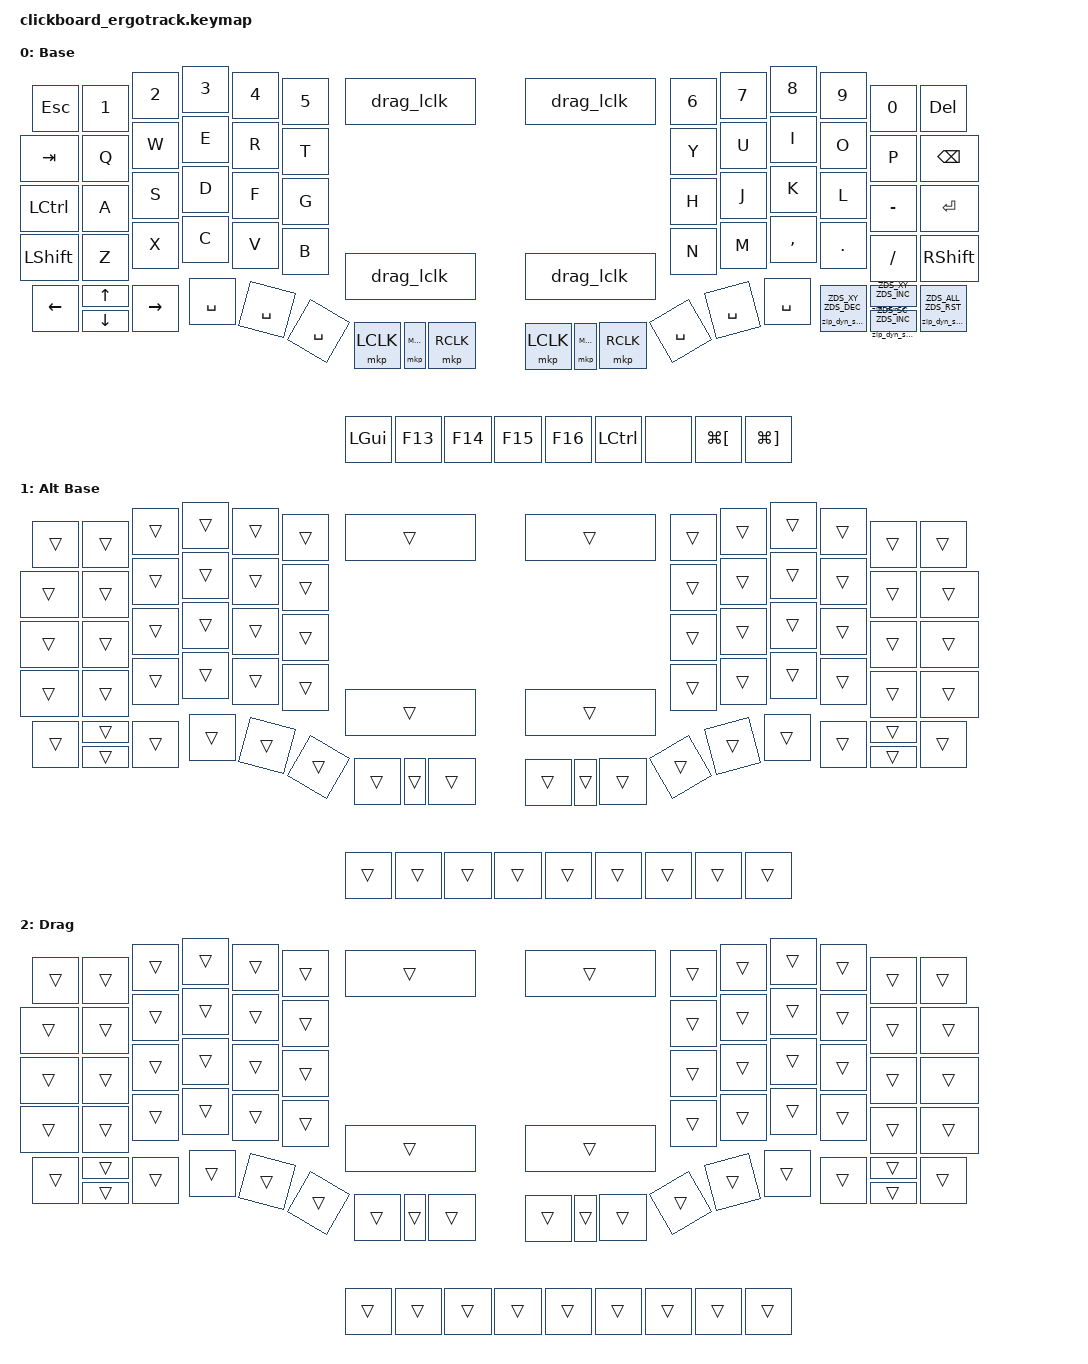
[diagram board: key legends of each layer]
#include <behaviors.dtsi>
#include <behaviors/runtime_macro.dtsi>
#include <behaviors/runtime_tap_dance.dtsi>
#include <dt-bindings/zmk/keys.h>
#include <dt-bindings/zmk/pointing.h>
#include <dt-bindings/zmk/zip_dynamic_scale.h>

/ {
    /* drag_lclk はボタンを入力イベントとして出す(&mkp と同じ作り)ので、
       それを HID に流すリスナーが要る。ZMK が &mkp に付けているものと同じ。 */
    drag_lclk_listener {
        compatible = "zmk,input-listener";
        device = <&drag_lclk>;
    };

    behaviors {
        /* 「指が乗っている間ホールド」(pos78)に置くための、キーとマウスボタンを
           同時に押し続けるビヘイビア。&tp_hold LSHIFT MB3 で Shift+中ボタン。
           どちらか片方だけなら 0 を入れる(&tp_hold LCTRL 0)。
           アプリでは第1引数がキー、第2引数がマウスボタンとして出る。 */
        tp_hold: tp_hold {
            compatible = "zmk,behavior-press-both";
            #binding-cells = <2>;
            display-name = "Key + Mouse Button";
            bindings = <&kp>, <&mkp>;
        };

        /* 実行中にポインタ/スクロール速度を変えるビヘイビア。
           display-name はアプリの割り当て一覧に出る名前(これが無いと内部名の
           zip_dyn_scale がそのまま並ぶ)。アプリ側はこの名前でマウス分類に
           入れて説明を付けるので、変えるときはアプリの behaviorMetadata.ts も
           合わせる。引数の選択肢(カーソル/スクロール/両方、速く/遅く/リセット)
           はドライバの behavior_zip_dynamic_scale.c がファームから渡す。 */
        zip_dyn_scale: zip_dyn_scale {
            compatible = "zmk,behavior-zip-dynamic-scale";
            #binding-cells = <2>;
            display-name = "Pointer Speed Adjust";
        };

        zip_dyn_scale_set: zip_dyn_scale_set {
            compatible = "zmk,behavior-zip-dynamic-scale-set";
            #binding-cells = <2>;
            display-name = "Pointer Speed Set";
        };

        /* トラックパッドの下のタクトスイッチ用の左クリック(ドライバの
           zmk,behavior-drag-click)。押すと左ボタン + レイヤー2(Drag)。
           離したとき、どちらかのパッドに指が乗っていればボタンとレイヤーを
           離さず、指が全部離れた時点で離す = スイッチから指を離しても
           パッドの指が乗っている限りドラッグが続く。指が乗っていなければ
           普通のクリック。ドラッグ中にもう一度押せばスイッチが引き継ぐ。
           Dragレイヤーでは dual_pad を通さない処理チェーンに切り替わるので、
           ドラッグ中に反対側のパッドへ指を置いてもジェスチャー融合が始まらず、
           そのままカーソルを動かせる = ドラッグの引き継ぎができる。
           親指などパッドに指を乗せたままシングルクリックしたいキーには
           これではなく &mkp LCLK を当てる(指が乗っていると離れなくなる)。
           指の有無は両半身の .conf の INPUT_IQS9151_TOUCH_STATE_ENABLE が
           出す生のタッチ状態イベント。ノード名 drag_lclk は保存済みの
           キーマップがこの名前で参照しているので変えない。 */
        drag_lclk: drag_lclk {
            compatible = "zmk,behavior-drag-click";
            #binding-cells = <0>;
            /* アプリのキー割り当て一覧に出る名前。これが無いと内部名の
               "drag_lclk" がそのまま並び、押すと何が起きるか分からない。 */
            display-name = "Left Click (Drag)";
            button = <0>;
            layer = <2>;
        };

        /* --- タップ/ホールドの判定時間プリセット ---
           押している時間がここで指定した ms を超えたら「ホールド」、
           それより短ければ「タップ」と判定される。
           数値ちがいのインスタンスを並べて定義しておくと、Keeb-On! Studio の
           キー割り当て候補にそのまま並び、キーごとに好みの速さを選べる。
           値そのものはコンパイル時固定だが、ファームウェアはタグを打てば
           GitHub Releases から配布されるので、合わなければ数値を変えて再配布する。

           flavor は ZMK 標準に合わせてある:
             mod-tap 系   = hold-preferred (ZMK の &mt と同じ)
             layer-tap 系 = tap-preferred  (ZMK の &lt と同じ)
           なので mt_mid / lt_mid は標準の &mt / &lt と完全に同じ挙動になる。 */

        mt_fast: mod_tap_fast {
            compatible = "zmk,behavior-hold-tap";
            #binding-cells = <2>;
            flavor = "hold-preferred";
            tapping-term-ms = <150>;
            bindings = <&kp>, <&kp>;
            display-name = "Mod-Tap 150ms";
        };

        mt_mid: mod_tap_mid {
            compatible = "zmk,behavior-hold-tap";
            #binding-cells = <2>;
            flavor = "hold-preferred";
            tapping-term-ms = <200>;
            bindings = <&kp>, <&kp>;
            display-name = "Mod-Tap 200ms";
        };

        mt_slow: mod_tap_slow {
            compatible = "zmk,behavior-hold-tap";
            #binding-cells = <2>;
            flavor = "hold-preferred";
            tapping-term-ms = <280>;
            bindings = <&kp>, <&kp>;
            display-name = "Mod-Tap 280ms";
        };

        lt_fast: layer_tap_fast {
            compatible = "zmk,behavior-hold-tap";
            #binding-cells = <2>;
            flavor = "tap-preferred";
            tapping-term-ms = <150>;
            bindings = <&mo>, <&kp>;
            display-name = "Layer-Tap 150ms";
        };

        lt_mid: layer_tap_mid {
            compatible = "zmk,behavior-hold-tap";
            #binding-cells = <2>;
            flavor = "tap-preferred";
            tapping-term-ms = <200>;
            bindings = <&mo>, <&kp>;
            display-name = "Layer-Tap 200ms";
        };

        lt_slow: layer_tap_slow {
            compatible = "zmk,behavior-hold-tap";
            #binding-cells = <2>;
            flavor = "tap-preferred";
            tapping-term-ms = <280>;
            bindings = <&mo>, <&kp>;
            display-name = "Layer-Tap 280ms";
        };

        /* --- QMK の PERMISSIVE_HOLD 相当 ---
           QMK の PERMISSIVE_HOLD は「押している間に別のキーが押されて
           *離された* なら、TAPPING_TERM を待たずにホールドと決める」。
           ZMK ではこれが flavor = "balanced"。上の hold-preferred は
           QMK でいう HOLD_ON_OTHER_KEY_PRESS(別キーが押された時点で
           ホールド確定)で、もっと強い。tap-preferred はその逆側。

           時間は QMK 側で使っていた TAPPING_TERM 180 に合わせてある。

           QUICK_TAP_TERM 0 に相当する設定は書いていない。ZMK の
           quick-tap-ms は既定が -1 = 無効で、これが QMK の 0 と同じ意味。
           値を書くとむしろ有効になってしまう。 */
        mt_perm: mod_tap_perm {
            compatible = "zmk,behavior-hold-tap";
            #binding-cells = <2>;
            flavor = "balanced";
            tapping-term-ms = <180>;
            bindings = <&kp>, <&kp>;
            display-name = "Mod-Tap 180ms (Permissive)";
        };

        lt_perm: layer_tap_perm {
            compatible = "zmk,behavior-hold-tap";
            #binding-cells = <2>;
            flavor = "balanced";
            tapping-term-ms = <180>;
            bindings = <&mo>, <&kp>;
            display-name = "Layer-Tap 180ms (Permissive)";
        };
    };

    keymap {
        compatible = "zmk,keymap";
        default_layer {
            display-name = "Base";
            bindings = <
            &kp ESC        /* RC(0,0) Esc */
            &kp N1         /* RC(0,1) 1 */
            &kp N2         /* RC(0,2) 2 */
            &kp N3         /* RC(0,3) 3 */
            &kp N4         /* RC(0,4) 4 */
            &kp N5         /* RC(0,5) 5 */
            &drag_lclk     /* RC(5,2) Left Click */
            &drag_lclk     /* RC(11,5) Left Click */
            &kp N6         /* RC(6,0) 6 */
            &kp N7         /* RC(6,1) 7 */
            &kp N8         /* RC(6,2) 8 */
            &kp N9         /* RC(6,3) 9 */
            &kp N0         /* RC(6,4) 0 */
            &kp DEL        /* RC(6,5) Delete */
            &kp TAB        /* RC(1,0) Tab */
            &kp Q          /* RC(1,1) Q */
            &kp W          /* RC(1,2) W */
            &kp E          /* RC(1,3) E */
            &kp R          /* RC(1,4) R */
            &kp T          /* RC(1,5) T */
            &kp Y          /* RC(7,0) Y */
            &kp U          /* RC(7,1) U */
            &kp I          /* RC(7,2) I */
            &kp O          /* RC(7,3) O */
            &kp P          /* RC(7,4) P */
            &kp BSPC       /* RC(7,5) Back Space */
            &kp LCTRL      /* RC(2,0) Ctrl */
            &kp A          /* RC(2,1) A */
            &kp S          /* RC(2,2) S */
            &kp D          /* RC(2,3) D */
            &kp F          /* RC(2,4) F */
            &kp G          /* RC(2,5) G */
            &kp H          /* RC(8,0) H */
            &kp J          /* RC(8,1) J */
            &kp K          /* RC(8,2) K */
            &kp L          /* RC(8,3) L */
            &kp MINUS      /* RC(8,4) - */
            &kp RET        /* RC(8,5) Enter */
            &kp LSHFT      /* RC(3,0) Shift */
            &kp Z          /* RC(3,1) Z */
            &kp X          /* RC(3,2) X */
            &kp C          /* RC(3,3) C */
            &kp V          /* RC(3,4) V */
            &kp B          /* RC(3,5) B */
            &drag_lclk     /* RC(5,0) Left Click */
            &drag_lclk     /* RC(11,3) Left Click */
            &kp N          /* RC(9,0) N */
            &kp M          /* RC(9,1) M */
            &kp COMMA      /* RC(9,2) , */
            &kp DOT        /* RC(9,3) . */
            &kp FSLH       /* RC(9,4) / */
            &kp RSHFT      /* RC(9,5) Shift */
            &kp LEFT       /* RC(4,0) Left */
            &kp UP         /* RC(4,1) Up */
            &kp RIGHT      /* RC(4,2) Right */
            &kp SPACE      /* RC(4,3) Space */
            &kp SPACE      /* RC(4,4) Space */
            &kp SPACE      /* RC(4,5) Space */
            &kp SPACE      /* RC(10,0) Space */
            &kp SPACE      /* RC(10,1) Space */
            &kp SPACE      /* RC(10,2) Space */
            &zip_dyn_scale ZDS_XY ZDS_DEC   /* RC(10,3) カーソル速度 - */
            &zip_dyn_scale ZDS_XY ZDS_INC   /* RC(10,4) カーソル速度 + */
            &zip_dyn_scale ZDS_ALL ZDS_RST  /* RC(10,5) 速度リセット */
            &kp DOWN       /* RC(5,1) Dows */
            &mkp LCLK      /* RC(5,3) Left Click */
            &mkp MCLK      /* RC(5,4) Middle Click */
            &mkp RCLK      /* RC(5,5) Right Click */
            &mkp LCLK      /* RC(11,0) Left Click */
            &mkp MCLK      /* RC(11,1) Middle Click */
            &mkp RCLK      /* RC(11,2) Right Click */
            &zip_dyn_scale ZDS_SC ZDS_INC   /* RC(11,4) スクロール速度 + */

            /* --- ジェスチャー用の仮想キー(Studioで自由に割り当て可) --- */
            &kp LGUI       /* pos72 ピンチ中Cmd押しっぱなし = Cmd+ホイールでズーム(macOS) */
            &kp F13        /* pos73 3本指スワイプ BTN_3 */
            &kp F14        /* pos74 3本指スワイプ BTN_4 */
            &kp F15        /* pos75 3本指スワイプ BTN_5 */
            &kp F16        /* pos76 3本指スワイプ BTN_6 */
            &kp LCTRL      /* pos77 ズーム中に保持する修飾キー。このMacはCtrl↔Cmd入れ替え設定なのでLCTRLがCmdとして届く。WindowsではそのままCtrl */
            &none          /* pos78 指が乗っている間ホールド。レイヤーごとに &tp_hold LSHIFT MB3 のように置く */
            /* pos79/pos80: 2本指横スワイプ。どちらが左でどちらが右かはパッドの
               載せ方で決まるので、実機で確かめて必要なら入れ替えること。
               ここでは macOS のブラウザの「戻る/進む」を入れてある。
               マウスの戻る/進むボタンそのものを送りたいなら &mkp MB4 / &mkp MB5 */
            &kp LG(LBKT)   /* pos79 2本指横スワイプ A = Cmd+[ (戻る) */
            &kp LG(RBKT)   /* pos80 2本指横スワイプ B = Cmd+] (進む) */
            >;
        };

        /* インデックス1は default-layer 機能(OS別/接続別のベースレイヤー)用に空けておく。
           全キー透過なので、有効になってもレイヤー0がそのまま効く */
        alt_base_layer {
            display-name = "Alt Base";
            bindings = <
            &trans
            &trans
            &trans
            &trans
            &trans
            &trans
            &trans
            &trans
            &trans
            &trans
            &trans
            &trans
            &trans
            &trans
            &trans
            &trans
            &trans
            &trans
            &trans
            &trans
            &trans
            &trans
            &trans
            &trans
            &trans
            &trans
            &trans
            &trans
            &trans
            &trans
            &trans
            &trans
            &trans
            &trans
            &trans
            &trans
            &trans
            &trans
            &trans
            &trans
            &trans
            &trans
            &trans
            &trans
            &trans
            &trans
            &trans
            &trans
            &trans
            &trans
            &trans
            &trans
            &trans
            &trans
            &trans
            &trans
            &trans
            &trans
            &trans
            &trans
            &trans
            &trans
            &trans
            &trans
            &trans
            &trans
            &trans
            &trans
            &trans
            &trans
            &trans
            &trans
            &trans
            &trans
            &trans
            &trans
            &trans
            &trans
            &trans
            &trans
            &trans
            >;
        };
        /* レイヤー2。左クリック保持中に有効。ドラッグ中は
           どちらのパッドでも普通にカーソルが動く。

           ここには一時期 &studio_unlock を置いていた。Studio のロックをやめた
           ので不要になり、外してある。ロックと無線はセットで、無線を捨てた:
           経緯は右手側の .conf に書いた。 */
        drag_layer {
            display-name = "Drag";
            bindings = <
            &trans
            &trans
            &trans
            &trans
            &trans
            &trans
            &trans
            &trans
            &trans
            &trans
            &trans
            &trans
            &trans
            &trans
            &trans
            &trans
            &trans
            &trans
            &trans
            &trans
            &trans
            &trans
            &trans
            &trans
            &trans
            &trans
            &trans
            &trans
            &trans
            &trans
            &trans
            &trans
            &trans
            &trans
            &trans
            &trans
            &trans
            &trans
            &trans
            &trans
            &trans
            &trans
            &trans
            &trans
            &trans
            &trans
            &trans
            &trans
            &trans
            &trans
            &trans
            &trans
            &trans
            &trans
            &trans
            &trans
            &trans
            &trans
            &trans
            &trans
            &trans
            &trans
            &trans
            &trans
            &trans
            &trans
            &trans
            &trans
            &trans
            &trans
            &trans
            &trans
            &trans
            &trans
            &trans
            &trans
            &trans
            &trans
            &trans
            &trans
            &trans
            >;
        };

        /* ZMK Studio から使うための空きレイヤー枠 */
        extra1 { status = "reserved"; };
        extra2 { status = "reserved"; };
        extra3 { status = "reserved"; };
        extra4 { status = "reserved"; };
        extra5 { status = "reserved"; };
        extra6 { status = "reserved"; };
        extra7 { status = "reserved"; };
        extra8 { status = "reserved"; };
    };
};
